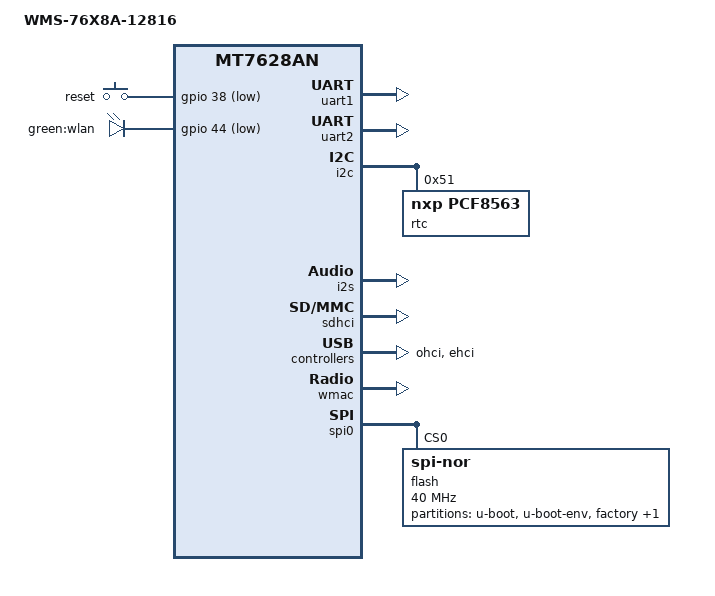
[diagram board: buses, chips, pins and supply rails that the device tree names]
// SPDX-License-Identifier: GPL-2.0-or-later OR MIT

#include "mt7628an.dtsi"

#include <dt-bindings/gpio/gpio.h>
#include <dt-bindings/input/input.h>

/ {
	compatible = "Wooya,wms-76x8a", "mediatek,mt7628an-soc";
	model = "WMS-76X8A-12816";

	aliases {
		led-boot = &led_wlan;
		led-failsafe = &led_wlan;
		led-upgrade = &led_wlan;
	};

	keys {
		compatible = "gpio-keys";

		reset {
			label = "reset";
			gpios = <&gpio 38 GPIO_ACTIVE_LOW>;
			linux,code = <KEY_RESTART>;
		};
	};

	leds {
		compatible = "gpio-leds";

		led_wlan: wlan {
			label = "green:wlan";
			gpios = <&gpio 44 GPIO_ACTIVE_LOW>;
			linux,default-trigger = "phy0tpt";
		};

	};
};


&uart1 {
	status = "okay";
};

&uart2 {
	status = "okay";
};

&i2c {
	status = "okay";

	rtc@51 {
		compatible = "nxp,pcf8563";
		reg = <0x51>;
	};
};

&i2s {
	#sound-dai-cells = <0>;
	status = "okay";
	pinctrl-names = "default";
	pinctrl-0 = <&i2s_pins>, <&refclk_pins>;
};

//默认单网口模式，启用sd卡
&sdhci {
	status = "okay";
	mediatek,cd-low;
};

&ohci {
	status = "okay";
};

&ehci {
	status = "okay";
};

&ethernet {
	mtd-mac-address = <&factory 0x28>;
};

&esw {
	mediatek,portmap = <0x3e>;
};

&wmac {
	status = "okay";
};

&gdma {
	status = "okay";
};

&state_default {
	gpio {
		groups = "wdt", "wled_an";
		function = "gpio";
	};
};

&spi0 {
	status = "okay";

	pinctrl-names = "default";
	pinctrl-0 = <&spi_pins>, <&spi_cs1_pins>;

	flash@0 {
		compatible = "jedec,spi-nor";
		reg = <0>;
		spi-max-frequency = <40000000>;

		partitions {
			compatible = "fixed-partitions";
			#address-cells = <1>;
			#size-cells = <1>;

			partition@0 {
				label = "u-boot";
				reg = <0x0 0x30000>;
				read-only;
			};

			partition@30000 {
				label = "u-boot-env";
				reg = <0x30000 0x10000>;
				read-only;
			};

			factory: partition@40000 {
				label = "factory";
				reg = <0x40000 0x10000>;
				read-only;
			};

			partition@50000 {
				compatible = "denx,uimage";
				label = "firmware";
				reg = <0x50000 0xfb0000>;
			};
		};
	};
};


